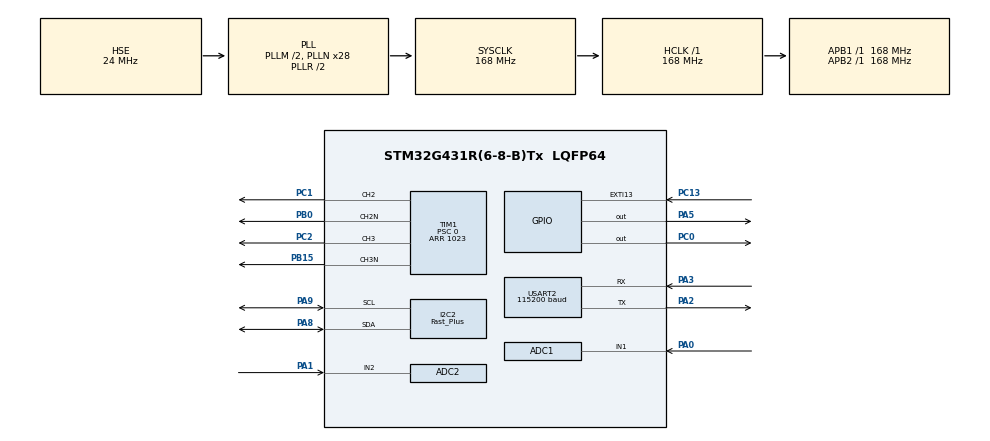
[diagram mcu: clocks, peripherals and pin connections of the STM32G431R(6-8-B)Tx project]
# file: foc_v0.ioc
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ADC1.Channel-0\#ChannelRegularConversion=ADC_CHANNEL_1
ADC1.Channel-IN1=ADC_CHANNEL_1
ADC1.ClockPrescaler=ADC_CLOCK_SYNC_PCLK_DIV4
ADC1.ContinuousConvMode=DISABLE
ADC1.DMAContinuousRequests=ENABLE
ADC1.DataAlign=ADC_DATAALIGN_RIGHT
ADC1.DiscontinuousConvMode=DISABLE
ADC1.EOCSelection=ADC_EOC_SINGLE_CONV
ADC1.EnableAnalogWatchDog1=false
ADC1.EnableAnalogWatchDog2=false
ADC1.EnableAnalogWatchDog3=false
ADC1.EnableInjectedConversion=DISABLE
ADC1.EnableRegularConversion=ENABLE
ADC1.ExternalTrigConv=ADC_EXTERNALTRIG_T1_TRGO
ADC1.ExternalTrigConvEdge=ADC_EXTERNALTRIGCONVEDGE_RISING
ADC1.GainCompensation=0
ADC1.LowPowerAutoWait=DISABLE
ADC1.Mode=ADC_MODE_INDEPENDENT
ADC1.NbrOfConversion=1
ADC1.OffsetNumber-0\#ChannelRegularConversion=ADC_OFFSET_NONE
ADC1.Overrun=ADC_OVR_DATA_PRESERVED
ADC1.OversamplingMode=DISABLE
ADC1.Rank-0\#ChannelRegularConversion=1
ADC1.Resolution=ADC_RESOLUTION_12B
ADC1.SamplingTime-0\#ChannelRegularConversion=ADC_SAMPLETIME_12CYCLES_5
ADC1.ScanConvMode=ADC_SCAN_DISABLE
ADC1.master=1
ADC2.Channel-0\#ChannelRegularConversion=ADC_CHANNEL_2
ADC2.Channel-IN2=ADC_CHANNEL_2
ADC2.ClockPrescaler=ADC_CLOCK_SYNC_PCLK_DIV4
ADC2.ContinuousConvMode=DISABLE
ADC2.DMAContinuousRequests=ENABLE
ADC2.DataAlign=ADC_DATAALIGN_RIGHT
ADC2.DiscontinuousConvMode=DISABLE
ADC2.EOCSelection=ADC_EOC_SINGLE_CONV
ADC2.EnableAnalogWatchDog1=false
ADC2.EnableAnalogWatchDog2=false
ADC2.EnableAnalogWatchDog3=false
ADC2.EnableInjectedConversion=DISABLE
ADC2.EnableRegularConversion=ENABLE
ADC2.ExternalTrigConv=ADC_EXTERNALTRIG_T1_TRGO
ADC2.ExternalTrigConvEdge=ADC_EXTERNALTRIGCONVEDGE_RISING
ADC2.GainCompensation=0
ADC2.LowPowerAutoWait=DISABLE
ADC2.Mode=ADC_MODE_INDEPENDENT
ADC2.NbrOfConversion=1
ADC2.OffsetNumber-0\#ChannelRegularConversion=ADC_OFFSET_NONE
ADC2.Overrun=ADC_OVR_DATA_PRESERVED
ADC2.OversamplingMode=DISABLE
ADC2.Rank-0\#ChannelRegularConversion=1
ADC2.Resolution=ADC_RESOLUTION_12B
ADC2.SamplingTime-0\#ChannelRegularConversion=ADC_SAMPLETIME_12CYCLES_5
ADC2.ScanConvMode=ADC_SCAN_DISABLE
Dma.ADC1.1.Direction=DMA_PERIPH_TO_MEMORY
Dma.ADC1.1.EventEnable=DISABLE
Dma.ADC1.1.Instance=DMA1_Channel2
Dma.ADC1.1.MemDataAlignment=DMA_MDATAALIGN_HALFWORD
Dma.ADC1.1.MemInc=DMA_MINC_ENABLE
Dma.ADC1.1.Mode=DMA_CIRCULAR
Dma.ADC1.1.PeriphDataAlignment=DMA_PDATAALIGN_HALFWORD
Dma.ADC1.1.PeriphInc=DMA_PINC_DISABLE
Dma.ADC1.1.Polarity=HAL_DMAMUX_REQ_GEN_RISING
Dma.ADC1.1.Priority=DMA_PRIORITY_LOW
Dma.ADC1.1.RequestNumber=1
Dma.ADC1.1.SignalID=NONE
Dma.ADC1.1.SyncEnable=DISABLE
Dma.ADC1.1.SyncPolarity=HAL_DMAMUX_SYNC_NO_EVENT
Dma.ADC1.1.SyncRequestNumber=1
Dma.ADC1.1.SyncSignalID=NONE
Dma.ADC2.0.Direction=DMA_PERIPH_TO_MEMORY
Dma.ADC2.0.EventEnable=DISABLE
Dma.ADC2.0.Instance=DMA1_Channel1
Dma.ADC2.0.MemDataAlignment=DMA_MDATAALIGN_HALFWORD
Dma.ADC2.0.MemInc=DMA_MINC_ENABLE
Dma.ADC2.0.Mode=DMA_CIRCULAR
Dma.ADC2.0.PeriphDataAlignment=DMA_PDATAALIGN_HALFWORD
Dma.ADC2.0.PeriphInc=DMA_PINC_DISABLE
Dma.ADC2.0.Polarity=HAL_DMAMUX_REQ_GEN_RISING
Dma.ADC2.0.Priority=DMA_PRIORITY_LOW
Dma.ADC2.0.RequestNumber=1
Dma.ADC2.0.SignalID=NONE
Dma.ADC2.0.SyncEnable=DISABLE
Dma.ADC2.0.SyncPolarity=HAL_DMAMUX_SYNC_NO_EVENT
Dma.ADC2.0.SyncRequestNumber=1
Dma.ADC2.0.SyncSignalID=NONE
Dma.I2C2_RX.2.Direction=DMA_PERIPH_TO_MEMORY
Dma.I2C2_RX.2.EventEnable=DISABLE
Dma.I2C2_RX.2.Instance=DMA1_Channel3
Dma.I2C2_RX.2.MemDataAlignment=DMA_MDATAALIGN_BYTE
Dma.I2C2_RX.2.MemInc=DMA_MINC_ENABLE
Dma.I2C2_RX.2.Mode=DMA_NORMAL
Dma.I2C2_RX.2.PeriphDataAlignment=DMA_PDATAALIGN_BYTE
Dma.I2C2_RX.2.PeriphInc=DMA_PINC_DISABLE
Dma.I2C2_RX.2.Polarity=HAL_DMAMUX_REQ_GEN_RISING
Dma.I2C2_RX.2.Priority=DMA_PRIORITY_LOW
Dma.I2C2_RX.2.RequestNumber=1
Dma.I2C2_RX.2.SignalID=NONE
Dma.I2C2_RX.2.SyncEnable=DISABLE
Dma.I2C2_RX.2.SyncPolarity=HAL_DMAMUX_SYNC_NO_EVENT
Dma.I2C2_RX.2.SyncRequestNumber=1
Dma.I2C2_RX.2.SyncSignalID=NONE
Dma.Request0=ADC2
Dma.Request1=ADC1
Dma.Request2=I2C2_RX
I2C2.AddressingMode=I2C_ADDRESSINGMODE_7BIT
I2C2.Analog_Filter=I2C_ANALOGFILTER_ENABLE
I2C2.CustomTiming=Disabled
I2C2.DualAddressMode=I2C_DUALADDRESS_DISABLE
I2C2.GeneralCallMode=I2C_GENERALCALL_DISABLE
I2C2.I2C_Coeff_DF=0
I2C2.I2C_Fall_Time=100
I2C2.I2C_Rise_Time=100
I2C2.I2C_Speed_Mode=I2C_Fast_Plus
I2C2.NoStretchMode=I2C_NOSTRETCH_DISABLE
I2C2.OwnAddress=0
I2C2.Speed=1000
I2C2.Timing=0x10C31027
Mcu.Family=STM32G4
Mcu.Name=STM32G431R(6-8-B)Tx
Mcu.Package=LQFP64
NVIC.ADC1_2_IRQn=true\:0\:0\:false\:false\:true\:true\:true\:true
NVIC.DMA1_Channel1_IRQn=true\:0\:0\:false\:false\:true\:false\:true\:true
NVIC.DMA1_Channel2_IRQn=true\:0\:0\:false\:false\:true\:false\:true\:true
NVIC.DMA1_Channel3_IRQn=true\:0\:0\:false\:false\:true\:false\:true\:true
NVIC.EXTI15_10_IRQn=true\:0\:0\:false\:false\:true\:true\:true\:true
NVIC.I2C2_EV_IRQn=true\:0\:0\:false\:false\:true\:true\:true\:true
NVIC.PriorityGroup=NVIC_PRIORITYGROUP_4
PA0.Mode=IN1-Single-Ended
PA0.Signal=ADC1_IN1
PA1.Mode=IN2-Single-Ended
PA1.Signal=ADC2_IN2
PA13.GPIO_Label=T_SWDIO
PA13.Mode=Serial_Wire
PA13.Signal=SYS_JTMS-SWDIO
PA14.GPIO_Label=T_SWCLK
PA14.Mode=Serial_Wire
PA14.Signal=SYS_JTCK-SWCLK
PA2.Mode=Asynchronous
PA2.Signal=USART2_TX
PA3.Mode=Asynchronous
PA3.Signal=USART2_RX
PA5.Signal=GPIO_Output
PA8.Mode=I2C
PA8.Signal=I2C2_SDA
PA9.Mode=I2C
PA9.Signal=I2C2_SCL
PB0.Mode=PWM Generation2 CH2 CH2N
PB0.Signal=TIM1_CH2N
PB15.Mode=PWM Generation3 CH3 CH3N
PB15.Signal=TIM1_CH3N
PC0.Signal=GPIO_Output
PC1.Signal=S_TIM1_CH2
PC13.Signal=GPXTI13
PC2.Signal=S_TIM1_CH3
PF0-OSC_IN.GPIO_Label=RCC_OSC_IN
PF0-OSC_IN.Mode=HSE-External-Oscillator
PF0-OSC_IN.Signal=RCC_OSC_IN
PF1-OSC_OUT.GPIO_Label=RCC_OSC_OUT
PF1-OSC_OUT.Mode=HSE-External-Oscillator
PF1-OSC_OUT.Signal=RCC_OSC_OUT
ProjectManager.HeapSize=0x200
ProjectManager.StackSize=0x400
ProjectManager.TargetToolchain=CMake
RCC.ADC12Freq_Value=168000000
RCC.AHBFreq_Value=168000000
RCC.APB1Freq_Value=168000000
RCC.APB1TimFreq_Value=168000000
RCC.APB2Freq_Value=168000000
RCC.APB2TimFreq_Value=168000000
RCC.CortexFreq_Value=168000000
RCC.EXTERNAL_CLOCK_VALUE=12288000
RCC.FLatency=FLASH_LATENCY_4
RCC.HCLKFreq_Value=168000000
RCC.HSE_VALUE=24000000
RCC.HSI48_VALUE=48000000
RCC.HSI_VALUE=16000000
RCC.LSE_VALUE=32768
RCC.PLLM=RCC_PLLM_DIV2
RCC.PLLN=28
RCC.PLLSourceVirtual=RCC_PLLSOURCE_HSE
RCC.PWR_Regulator_Voltage_Scale=PWR_REGULATOR_VOLTAGE_SCALE1_BOOST
RCC.SYSCLKFreq_VALUE=168000000
RCC.SYSCLKSource=RCC_SYSCLKSOURCE_PLLCLK
RCC.USBFreq_Value=168000000
RCC.VCOOutputFreq_Value=336000000
SH.S_TIM1_CH2.0=TIM1_CH2,PWM Generation2 CH2 CH2N
SH.S_TIM1_CH3.0=TIM1_CH3,PWM Generation3 CH3 CH3N
TIM1.AsymmetricalDeadTime=DISABLE
TIM1.AutoReloadPreload=TIM_AUTORELOAD_PRELOAD_ENABLE
TIM1.AutomaticOutput=TIM_AUTOMATICOUTPUT_DISABLE
TIM1.Break2Filter=0
TIM1.Break2Polarity=TIM_BREAK2POLARITY_HIGH
TIM1.Break2State=TIM_BREAK2_DISABLE
TIM1.BreakFilter=0
TIM1.BreakPolarity=TIM_BREAKPOLARITY_HIGH
TIM1.BreakState=TIM_BREAK_DISABLE
TIM1.Channel-PWM\ Generation2\ CH2\ CH2N=TIM_CHANNEL_2
TIM1.Channel-PWM\ Generation3\ CH3\ CH3N=TIM_CHANNEL_3
TIM1.ClearInputSource=TIM_CLEARINPUTSOURCE_NONE
TIM1.ClockDivision=TIM_CLOCKDIVISION_DIV1
TIM1.CounterMode=TIM_COUNTERMODE_CENTERALIGNED1
TIM1.DeadTime=0
TIM1.DeadTimePreload=DISABLE
TIM1.Dithering=Disable
TIM1.LockLevel=TIM_LOCKLEVEL_OFF
TIM1.OC2Preload_PWM=ENABLE
TIM1.OC3Preload_PWM=ENABLE
TIM1.OCFastMode_PWM-PWM\ Generation2\ CH2\ CH2N=TIM_OCFAST_DISABLE
TIM1.OCFastMode_PWM-PWM\ Generation3\ CH3\ CH3N=TIM_OCFAST_DISABLE
TIM1.OCIdleState_2=TIM_OCIDLESTATE_RESET
TIM1.OCIdleState_3=TIM_OCIDLESTATE_RESET
TIM1.OCMode_PWM-PWM\ Generation2\ CH2\ CH2N=TIM_OCMODE_PWM1
TIM1.OCMode_PWM-PWM\ Generation3\ CH3\ CH3N=TIM_OCMODE_PWM1
TIM1.OCNIdleState_2=TIM_OCNIDLESTATE_RESET
TIM1.OCNIdleState_3=TIM_OCNIDLESTATE_RESET
TIM1.OCNPolarity_2=TIM_OCNPOLARITY_HIGH
TIM1.OCNPolarity_3=TIM_OCNPOLARITY_HIGH
TIM1.OCPolarity_2=TIM_OCPOLARITY_HIGH
TIM1.OCPolarity_3=TIM_OCPOLARITY_HIGH
TIM1.OffStateIDLEMode=TIM_OSSI_DISABLE
TIM1.OffStateRunMode=TIM_OSSR_DISABLE
TIM1.PeriodNoDither=1023
TIM1.Prescaler=0
TIM1.PulseNoDither_2=0
TIM1.PulseNoDither_3=0
TIM1.RepetitionCounter=7
TIM1.SourceBRK2COMP1=TIM_BREAKINPUTSOURCE_DISABLE
TIM1.SourceBRK2COMP2=TIM_BREAKINPUTSOURCE_DISABLE
TIM1.SourceBRK2COMP3=TIM_BREAKINPUTSOURCE_DISABLE
TIM1.SourceBRK2COMP4=TIM_BREAKINPUTSOURCE_DISABLE
TIM1.SourceBRK2DigInput=TIM_BREAKINPUTSOURCE_DISABLE
TIM1.SourceBRKCOMP1=TIM_BREAKINPUTSOURCE_DISABLE
TIM1.SourceBRKCOMP2=TIM_BREAKINPUTSOURCE_DISABLE
TIM1.SourceBRKCOMP3=TIM_BREAKINPUTSOURCE_DISABLE
TIM1.SourceBRKCOMP4=TIM_BREAKINPUTSOURCE_DISABLE
TIM1.SourceBRKDigInput=TIM_BREAKINPUTSOURCE_DISABLE
TIM1.TIM_MasterOutputTrigger=TIM_TRGO_UPDATE
TIM1.TIM_MasterOutputTrigger2=TIM_TRGO2_RESET
TIM1.TIM_MasterSlaveMode=TIM_MASTERSLAVEMODE_DISABLE
USART2.AutoBaudRateEnableParam=UART_ADVFEATURE_AUTOBAUDRATE_DISABLE
USART2.BaudRate=115200
USART2.ClockPrescaler=PRESCALER_DIV1
USART2.DMADisableonRxErrorParam=ADVFEATURE_DMA_ENABLEONRXERROR
USART2.DataInvertParam=ADVFEATURE_DATAINV_DISABLE
USART2.FIFOMode=FIFOMODE_DISABLE
USART2.MSBFirstParam=ADVFEATURE_MSBFIRST_DISABLE
USART2.Mode=MODE_TX_RX
USART2.OneBitSampling=UART_ONE_BIT_SAMPLE_DISABLE
USART2.OverSampling=UART_OVERSAMPLING_16
USART2.OverrunDisableParam=ADVFEATURE_OVERRUN_ENABLE
USART2.Parity=PARITY_NONE
USART2.RXFIFOThreshold=RXFIFO_THRESHOLD_1EIGHTHFULL
USART2.RxPinLevelInvertParam=ADVFEATURE_RXINV_DISABLE
USART2.StopBits=STOPBITS_1
USART2.SwapParam=ADVFEATURE_SWAP_DISABLE
USART2.TXFIFOThreshold=TXFIFO_THRESHOLD_1EIGHTHFULL
USART2.TxPinLevelInvertParam=ADVFEATURE_TXINV_DISABLE
USART2.VirtualMode-Asynchronous=VM_ASYNC
USART2.WordLength=WORDLENGTH_8B
VP_CORDIC_VS_CORDIC.Mode=CORDIC_Activate
VP_SYS_VS_DBSignals.Mode=DisableDeadBatterySignals
VP_TIM1_VS_ClockSourceINT.Mode=Internal
board=NUCLEO-G431RB

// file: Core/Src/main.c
/* USER CODE BEGIN Header */
/**
  ******************************************************************************
  * @file           : main.c
  * @brief          : Main program body
  ******************************************************************************
  * @attention
  *
  * Copyright (c) 2026 STMicroelectronics.
  * All rights reserved.
  *
  * This software is licensed under terms that can be found in the LICENSE file
  * in the root directory of this software component.
  * If no LICENSE file comes with this software, it is provided AS-IS.
  *
  ******************************************************************************
  */
/* USER CODE END Header */
#include "main.h"

/* USER CODE BEGIN Includes */
#include <stdbool.h>
#include <stdint.h>
#include <stdio.h>
#include "stm32g4xx_hal.h"
#include "stm32g4xx_hal_gpio.h"
#include "stm32g4xx_hal_i2c.h"
#include "stm32g4xx_hal_tim.h"

#include "stm32-cordic.h"
#include "as5600.h"
#include "stm32g4xx_hal_uart.h"
/* USER CODE END Includes */

/* USER CODE BEGIN PD */
#define LOG_SIZE 1024
#define OUTPUT_BUFLEN 64
#define ANGLE_WRAP_THRESHOLD 300
/* USER CODE END PD */

ADC_HandleTypeDef hadc1;
ADC_HandleTypeDef hadc2;
DMA_HandleTypeDef hdma_adc1;
DMA_HandleTypeDef hdma_adc2;

CORDIC_HandleTypeDef hcordic;

I2C_HandleTypeDef hi2c2;
DMA_HandleTypeDef hdma_i2c2_rx;

TIM_HandleTypeDef htim1;

UART_HandleTypeDef huart2;

/* USER CODE BEGIN PV */
volatile bool active = false;
volatile bool state_change = false;
volatile bool next_step = false;
volatile bool i2c_dma_ready = false;

uint16_t angle_log[LOG_SIZE];
uint16_t duty_log_x[LOG_SIZE];
uint16_t duty_log_y[LOG_SIZE];
int16_t adc_log_x[LOG_SIZE];
int16_t adc_log_y[LOG_SIZE];
int32_t adc_log_d[LOG_SIZE];
int32_t adc_log_q[LOG_SIZE];

uint8_t output_buffer[OUTPUT_BUFLEN];
int output_length;

AS5600_TypeDef *myAS5600;
/* USER CODE END PV */

void SystemClock_Config(void);
static void MX_GPIO_Init(void);
static void MX_DMA_Init(void);
static void MX_USART2_UART_Init(void);
static void MX_CORDIC_Init(void);
static void MX_TIM1_Init(void);
static void MX_ADC1_Init(void);
static void MX_ADC2_Init(void);
static void MX_I2C2_Init(void);
/* USER CODE BEGIN PFP */
static inline int32_t update_cumulative_angle(int32_t cumulative_angle_prev, uint16_t raw_angle_prev, uint16_t raw_angle);
/* USER CODE END PFP */

int main(void)
{

  /* MCU Configuration--------------------------------------------------------*/

  /* Reset of all peripherals, Initializes the Flash interface and the Systick. */
  HAL_Init();

  /* Configure the system clock */
  SystemClock_Config();

  /* Initialize all configured peripherals */
  MX_GPIO_Init();
  MX_DMA_Init();
  MX_USART2_UART_Init();
  MX_CORDIC_Init();
  MX_TIM1_Init();
  MX_ADC1_Init();
  MX_ADC2_Init();
  MX_I2C2_Init();
  /* USER CODE BEGIN 2 */
  uint32_t adc_dma_dest[2];
  int32_t cordic_results[2];

  int32_t theta_q31 = 0x80000000;   // corresponding to -pi
  int32_t sine_q31 = 0, cosine_q31 = 0;
  uint16_t pwm_level_x = 0, pwm_level_y = 0;
  int16_t adc_x, adc_y;

  int cycle_count = 0;    // 0 -> initiate angle reading, 2 -> Kalman update
  int logging_index = 0;
  uint16_t angle_raw, angle_raw_prev, angle_home;
  int32_t cumulative_angle, angle_dq;
  int32_t sine_dq, cosine_dq;
  int32_t adc_d, adc_q;

  myAS5600 = AS5600_New();
  myAS5600->i2cAddr = (0x36 << 1);  // 7-bit address shifted for HAL
  myAS5600->i2cHandle = &hi2c2;
  myAS5600->SlowFilter = AS5600_SLOW_FILTER_2X;
  myAS5600->FastFilterThreshold = AS5600_FAST_FILTER_6LSB;

  AS5600_Init(myAS5600);

  /* Measure ADC DC offset after calibration by averaging a few samples */
  ADC_ChannelConfTypeDef adc_offset_config = {0};

  hadc1.Init.ExternalTrigConv = ADC_SOFTWARE_START;
  hadc1.Init.ExternalTrigConvEdge = ADC_EXTERNALTRIGCONVEDGE_NONE;
  if (HAL_ADC_Init(&hadc1) != HAL_OK) {
    Error_Handler();
  }
  adc_offset_config.Channel = ADC_CHANNEL_1;
  adc_offset_config.Rank = ADC_REGULAR_RANK_1;
  adc_offset_config.SamplingTime = ADC_SAMPLETIME_12CYCLES_5;
  adc_offset_config.SingleDiff = ADC_SINGLE_ENDED;
  adc_offset_config.OffsetNumber = ADC_OFFSET_NONE;
  adc_offset_config.Offset = 0;
  if (HAL_ADC_ConfigChannel(&hadc1, &adc_offset_config) != HAL_OK) {
    Error_Handler();
  }

  hadc2.Init.ExternalTrigConv = ADC_SOFTWARE_START;
  hadc2.Init.ExternalTrigConvEdge = ADC_EXTERNALTRIGCONVEDGE_NONE;
  if (HAL_ADC_Init(&hadc2) != HAL_OK) {
    Error_Handler();
  }
  adc_offset_config.Channel = ADC_CHANNEL_2;
  if (HAL_ADC_ConfigChannel(&hadc2, &adc_offset_config) != HAL_OK) {
    Error_Handler();
  }

  HAL_ADCEx_Calibration_Start(&hadc1, ADC_SINGLE_ENDED);
  HAL_ADCEx_Calibration_Start(&hadc2, ADC_SINGLE_ENDED);

  const uint8_t adc_offset_samples = 64;
  uint32_t adc1_offset_sum = 0;
  uint32_t adc2_offset_sum = 0;
  uint16_t adc1_offset = 0;
  uint16_t adc2_offset = 0;

  for (uint8_t i = 0; i < adc_offset_samples; i++) {
    if (HAL_ADC_Start(&hadc1) != HAL_OK) {
      Error_Handler();
    }
    if (HAL_ADC_PollForConversion(&hadc1, 10) != HAL_OK) {
      Error_Handler();
    }
    adc1_offset_sum += HAL_ADC_GetValue(&hadc1);
    HAL_ADC_Stop(&hadc1);

    if (HAL_ADC_Start(&hadc2) != HAL_OK) {
      Error_Handler();
    }
    if (HAL_ADC_PollForConversion(&hadc2, 10) != HAL_OK) {
      Error_Handler();
    }
    adc2_offset_sum += HAL_ADC_GetValue(&hadc2);
    HAL_ADC_Stop(&hadc2);

    HAL_Delay(1);
  }

  adc1_offset = (uint16_t)(adc1_offset_sum / adc_offset_samples);
  adc2_offset = (uint16_t)(adc2_offset_sum / adc_offset_samples);
  // (void)adc1_offset;
  // (void)adc2_offset;

  MX_ADC1_Init();
  MX_ADC2_Init();
  /* USER CODE END 2 */

  /* Infinite loop */
  /* USER CODE BEGIN WHILE */
  while (1)
  {
    if(active) {
      if(state_change) {  // first cycle after activation
        state_change = false;
        HAL_GPIO_WritePin(GPIOA, GPIO_PIN_5, 1);   // light up LED

        // Start ADC and DMA
        HAL_ADC_Start_DMA(&hadc1, &adc_dma_dest[0], 1);
        __HAL_ADC_ENABLE_IT(&hadc1, ADC_IT_EOC);
        HAL_ADC_Start_DMA(&hadc2, &adc_dma_dest[1], 1);
        // __HAL_ADC_ENABLE_IT(&hadc2, ADC_IT_EOC);

        // Start TIMER
        __HAL_TIM_CLEAR_FLAG(&htim1, TIM_FLAG_UPDATE);
        HAL_TIM_PWM_Start(&htim1, TIM_CHANNEL_2);
        HAL_TIMEx_PWMN_Start(&htim1, TIM_CHANNEL_2);
        HAL_TIM_PWM_Start(&htim1, TIM_CHANNEL_3);
        HAL_TIMEx_PWMN_Start(&htim1, TIM_CHANNEL_3);

        // set initial PWM duty cycle for homing
        cordic_q31_cos_sin(theta_q31, cordic_results);
        cosine_q31 = cordic_results[0];
        sine_q31 = cordic_results[1];
        pwm_level_x = (cosine_q31 >> 23) + 512;
        pwm_level_y = (sine_q31 >> 23) + 512;
        __HAL_TIM_SET_COMPARE(&htim1, TIM_CHANNEL_2, pwm_level_x);
        __HAL_TIM_SET_COMPARE(&htim1, TIM_CHANNEL_3, pwm_level_y);
        HAL_GPIO_TogglePin(GPIOC, GPIO_PIN_0);

        // delay for rotor to rotate to home position
        HAL_Delay(50);

        // read home position
        AS5600_GetAngle(myAS5600, &angle_home);
        cumulative_angle = -((int32_t)angle_home);   // set home position to 0
      }

      if(next_step) {   // ADC sampling just completed
        next_step = false;    // clear flag

        // update pwm duty cycle
        cordic_q31_cos_sin(theta_q31, cordic_results);
        cosine_q31 = cordic_results[0];
        sine_q31 = cordic_results[1];
        pwm_level_x = (cosine_q31 >> 23) + 512;
        pwm_level_y = (sine_q31 >> 23) + 512;
        __HAL_TIM_SET_COMPARE(&htim1, TIM_CHANNEL_2, pwm_level_x);
        __HAL_TIM_SET_COMPARE(&htim1, TIM_CHANNEL_3, pwm_level_y);
        HAL_GPIO_TogglePin(GPIOC, GPIO_PIN_0);

        theta_q31 += 0x2000000;    // let it overflow to loop back and keep spinning

        // perform tasks based on cycle_count
        switch(cycle_count) {
          case 0:
            AS5600_GetAngleDMA(myAS5600);
            cycle_count++;
            break;
          case 1:
            cycle_count++;
            break;
          case 2:
            if(i2c_dma_ready) {   // update angle if AS5600 is ready
              angle_raw_prev = angle_raw;
              angle_raw = (as5600_dma_dest[0] << 8) | as5600_dma_dest[1];
              cumulative_angle = update_cumulative_angle(cumulative_angle, angle_raw_prev, angle_raw);
            }

            adc_x = (adc_dma_dest[0] & 0x0000ffff) - adc1_offset;
            adc_y = (adc_dma_dest[1] & 0x0000ffff) - adc2_offset;

            // compute angle for DQ measurement
            // 12-bit measured angle -> 32-bit cordic angle -> 32-bit cordic sin/cos -> 12-bit sin/cos
            angle_dq = (cumulative_angle * 50) << 20;
            cordic_q31_cos_sin(angle_dq, cordic_results);
            cosine_dq = cordic_results[0] >> 20;
            sine_dq = cordic_results[1] >> 20;
            adc_d = -sine_dq * adc_x + cosine_dq * adc_y;
            adc_q = cosine_dq * adc_x + sine_dq * adc_y;

            // log data
            angle_log[logging_index] = cumulative_angle;
            duty_log_x[logging_index] = pwm_level_x;
            duty_log_y[logging_index] = pwm_level_y;
            adc_log_x[logging_index] = adc_x;
            adc_log_y[logging_index] = adc_y;
            adc_log_d[logging_index] = adc_d;
            adc_log_q[logging_index] = adc_q;

            if(logging_index < LOG_SIZE - 1) {
              logging_index++;
            } else {
              logging_index = 0;
            }

            cycle_count = 0;
            break;
        }
      }

    } else {
      if(state_change) {   // first cycle after stopping
        state_change = false;
        HAL_GPIO_WritePin(GPIOA, GPIO_PIN_5, 0);   // turn off LED

        // turn off motor current
        HAL_ADC_Stop_DMA(&hadc1);
        __HAL_ADC_DISABLE_IT(&hadc1, ADC_IT_EOC);
        HAL_ADC_Stop_DMA(&hadc2);
        // __HAL_ADC_DISABLE_IT(&hadc2, ADC_IT_EOC);
        HAL_TIM_PWM_Stop(&htim1, TIM_CHANNEL_2);
        HAL_TIMEx_PWMN_Stop(&htim1, TIM_CHANNEL_2);
        HAL_TIM_PWM_Stop(&htim1, TIM_CHANNEL_3);
        HAL_TIMEx_PWMN_Stop(&htim1, TIM_CHANNEL_3);

        // print logged data to serial port
        for(int i = 0; i < LOG_SIZE; i++) {
          output_length = snprintf((char *)output_buffer, OUTPUT_BUFLEN, "%d %d %d %d %d %ld %ld\r\n",
            duty_log_x[logging_index], duty_log_y[logging_index], angle_log[logging_index],
            adc_log_x[logging_index], adc_log_y[logging_index], adc_log_d[logging_index], adc_log_q[logging_index]);
          // output_length = snprintf((char *)output_buffer, OUTPUT_BUFLEN, "%d %d %d %d %d\r\n",
          //   duty_log_x[logging_index], duty_log_y[logging_index], angle_log[logging_index],
          //   adc_log_x[logging_index], adc_log_y[logging_index]);

          if(logging_index < LOG_SIZE - 1) {
            logging_index++;
          } else {
            logging_index = 0;
          }

          HAL_UART_Transmit(&huart2, output_buffer, output_length, 10);
          HAL_Delay(1);
        }
      }

      // reset variables
      theta_q31 = 0x80000000;   // corresponding to -pi
      sine_q31 = 0;
      cosine_q31 = 0;
      pwm_level_x = 0;
      pwm_level_y = 0;

      cycle_count = 0;
      logging_index = 0;
    }
    /* USER CODE END WHILE */

  }
}

void SystemClock_Config(void)
{
  RCC_OscInitTypeDef RCC_OscInitStruct = {0};
  RCC_ClkInitTypeDef RCC_ClkInitStruct = {0};

  /** Configure the main internal regulator output voltage
  */
  HAL_PWREx_ControlVoltageScaling(PWR_REGULATOR_VOLTAGE_SCALE1_BOOST);

  /** Initializes the RCC Oscillators according to the specified parameters
  * in the RCC_OscInitTypeDef structure.
  */
  RCC_OscInitStruct.OscillatorType = RCC_OSCILLATORTYPE_HSE;
  RCC_OscInitStruct.HSEState = RCC_HSE_ON;
  RCC_OscInitStruct.PLL.PLLState = RCC_PLL_ON;
  RCC_OscInitStruct.PLL.PLLSource = RCC_PLLSOURCE_HSE;
  RCC_OscInitStruct.PLL.PLLM = RCC_PLLM_DIV2;
  RCC_OscInitStruct.PLL.PLLN = 28;
  RCC_OscInitStruct.PLL.PLLP = RCC_PLLP_DIV2;
  RCC_OscInitStruct.PLL.PLLQ = RCC_PLLQ_DIV2;
  RCC_OscInitStruct.PLL.PLLR = RCC_PLLR_DIV2;
  if (HAL_RCC_OscConfig(&RCC_OscInitStruct) != HAL_OK)
  {
    Error_Handler();
  }

  /** Initializes the CPU, AHB and APB buses clocks
  */
  RCC_ClkInitStruct.ClockType = RCC_CLOCKTYPE_HCLK|RCC_CLOCKTYPE_SYSCLK
                              |RCC_CLOCKTYPE_PCLK1|RCC_CLOCKTYPE_PCLK2;
  RCC_ClkInitStruct.SYSCLKSource = RCC_SYSCLKSOURCE_PLLCLK;
  RCC_ClkInitStruct.AHBCLKDivider = RCC_SYSCLK_DIV1;
  RCC_ClkInitStruct.APB1CLKDivider = RCC_HCLK_DIV1;
  RCC_ClkInitStruct.APB2CLKDivider = RCC_HCLK_DIV1;

  if (HAL_RCC_ClockConfig(&RCC_ClkInitStruct, FLASH_LATENCY_4) != HAL_OK)
  {
    Error_Handler();
  }
}

static void MX_ADC1_Init(void)
{

  ADC_MultiModeTypeDef multimode = {0};
  ADC_ChannelConfTypeDef sConfig = {0};

  /** Common config
  */
  hadc1.Instance = ADC1;
  hadc1.Init.ClockPrescaler = ADC_CLOCK_SYNC_PCLK_DIV4;
  hadc1.Init.Resolution = ADC_RESOLUTION_12B;
  hadc1.Init.DataAlign = ADC_DATAALIGN_RIGHT;
  hadc1.Init.GainCompensation = 0;
  hadc1.Init.ScanConvMode = ADC_SCAN_DISABLE;
  hadc1.Init.EOCSelection = ADC_EOC_SINGLE_CONV;
  hadc1.Init.LowPowerAutoWait = DISABLE;
  hadc1.Init.ContinuousConvMode = DISABLE;
  hadc1.Init.NbrOfConversion = 1;
  hadc1.Init.DiscontinuousConvMode = DISABLE;
  hadc1.Init.ExternalTrigConv = ADC_EXTERNALTRIG_T1_TRGO;
  hadc1.Init.ExternalTrigConvEdge = ADC_EXTERNALTRIGCONVEDGE_RISING;
  hadc1.Init.DMAContinuousRequests = ENABLE;
  hadc1.Init.Overrun = ADC_OVR_DATA_PRESERVED;
  hadc1.Init.OversamplingMode = DISABLE;
  if (HAL_ADC_Init(&hadc1) != HAL_OK)
  {
    Error_Handler();
  }

  /** Configure the ADC multi-mode
  */
  multimode.Mode = ADC_MODE_INDEPENDENT;
  if (HAL_ADCEx_MultiModeConfigChannel(&hadc1, &multimode) != HAL_OK)
  {
    Error_Handler();
  }

  /** Configure Regular Channel
  */
  sConfig.Channel = ADC_CHANNEL_1;
  sConfig.Rank = ADC_REGULAR_RANK_1;
  sConfig.SamplingTime = ADC_SAMPLETIME_12CYCLES_5;
  sConfig.SingleDiff = ADC_SINGLE_ENDED;
  sConfig.OffsetNumber = ADC_OFFSET_NONE;
  sConfig.Offset = 0;
  if (HAL_ADC_ConfigChannel(&hadc1, &sConfig) != HAL_OK)
  {
    Error_Handler();
  }

}

static void MX_ADC2_Init(void)
{

  ADC_ChannelConfTypeDef sConfig = {0};

  /** Common config
  */
  hadc2.Instance = ADC2;
  hadc2.Init.ClockPrescaler = ADC_CLOCK_SYNC_PCLK_DIV4;
  hadc2.Init.Resolution = ADC_RESOLUTION_12B;
  hadc2.Init.DataAlign = ADC_DATAALIGN_RIGHT;
  hadc2.Init.GainCompensation = 0;
  hadc2.Init.ScanConvMode = ADC_SCAN_DISABLE;
  hadc2.Init.EOCSelection = ADC_EOC_SINGLE_CONV;
  hadc2.Init.LowPowerAutoWait = DISABLE;
  hadc2.Init.ContinuousConvMode = DISABLE;
  hadc2.Init.NbrOfConversion = 1;
  hadc2.Init.DiscontinuousConvMode = DISABLE;
  hadc2.Init.ExternalTrigConv = ADC_EXTERNALTRIG_T1_TRGO;
  hadc2.Init.ExternalTrigConvEdge = ADC_EXTERNALTRIGCONVEDGE_RISING;
  hadc2.Init.DMAContinuousRequests = ENABLE;
  hadc2.Init.Overrun = ADC_OVR_DATA_PRESERVED;
  hadc2.Init.OversamplingMode = DISABLE;
  if (HAL_ADC_Init(&hadc2) != HAL_OK)
  {
    Error_Handler();
  }

  /** Configure Regular Channel
  */
  sConfig.Channel = ADC_CHANNEL_2;
  sConfig.Rank = ADC_REGULAR_RANK_1;
  sConfig.SamplingTime = ADC_SAMPLETIME_12CYCLES_5;
  sConfig.SingleDiff = ADC_SINGLE_ENDED;
  sConfig.OffsetNumber = ADC_OFFSET_NONE;
  sConfig.Offset = 0;
  if (HAL_ADC_ConfigChannel(&hadc2, &sConfig) != HAL_OK)
  {
    Error_Handler();
  }

}

static void MX_CORDIC_Init(void)
{

  hcordic.Instance = CORDIC;
  if (HAL_CORDIC_Init(&hcordic) != HAL_OK)
  {
    Error_Handler();
  }

}

static void MX_I2C2_Init(void)
{

  hi2c2.Instance = I2C2;
  hi2c2.Init.Timing = 0x10C31027;
  hi2c2.Init.OwnAddress1 = 0;
  hi2c2.Init.AddressingMode = I2C_ADDRESSINGMODE_7BIT;
  hi2c2.Init.DualAddressMode = I2C_DUALADDRESS_DISABLE;
  hi2c2.Init.OwnAddress2 = 0;
  hi2c2.Init.OwnAddress2Masks = I2C_OA2_NOMASK;
  hi2c2.Init.GeneralCallMode = I2C_GENERALCALL_DISABLE;
  hi2c2.Init.NoStretchMode = I2C_NOSTRETCH_DISABLE;
  if (HAL_I2C_Init(&hi2c2) != HAL_OK)
  {
    Error_Handler();
  }

  /** Configure Analogue filter
  */
  if (HAL_I2CEx_ConfigAnalogFilter(&hi2c2, I2C_ANALOGFILTER_ENABLE) != HAL_OK)
  {
    Error_Handler();
  }

  /** Configure Digital filter
  */
  if (HAL_I2CEx_ConfigDigitalFilter(&hi2c2, 0) != HAL_OK)
  {
    Error_Handler();
  }

  /** I2C Fast mode Plus enable
  */
  HAL_I2CEx_EnableFastModePlus(I2C_FASTMODEPLUS_I2C2);

}

static void MX_TIM1_Init(void)
{

  TIM_ClockConfigTypeDef sClockSourceConfig = {0};
  TIM_MasterConfigTypeDef sMasterConfig = {0};
  TIM_OC_InitTypeDef sConfigOC = {0};
  TIM_BreakDeadTimeConfigTypeDef sBreakDeadTimeConfig = {0};

  htim1.Instance = TIM1;
  htim1.Init.Prescaler = 0;
  htim1.Init.CounterMode = TIM_COUNTERMODE_CENTERALIGNED1;
  htim1.Init.Period = 1023;
  htim1.Init.ClockDivision = TIM_CLOCKDIVISION_DIV1;
  htim1.Init.RepetitionCounter = 7;
  htim1.Init.AutoReloadPreload = TIM_AUTORELOAD_PRELOAD_ENABLE;
  if (HAL_TIM_Base_Init(&htim1) != HAL_OK)
  {
    Error_Handler();
  }
  sClockSourceConfig.ClockSource = TIM_CLOCKSOURCE_INTERNAL;
  if (HAL_TIM_ConfigClockSource(&htim1, &sClockSourceConfig) != HAL_OK)
  {
    Error_Handler();
  }
  if (HAL_TIM_PWM_Init(&htim1) != HAL_OK)
  {
    Error_Handler();
  }
  sMasterConfig.MasterOutputTrigger = TIM_TRGO_UPDATE;
  sMasterConfig.MasterOutputTrigger2 = TIM_TRGO2_RESET;
  sMasterConfig.MasterSlaveMode = TIM_MASTERSLAVEMODE_DISABLE;
  if (HAL_TIMEx_MasterConfigSynchronization(&htim1, &sMasterConfig) != HAL_OK)
  {
    Error_Handler();
  }
  sConfigOC.OCMode = TIM_OCMODE_PWM1;
  sConfigOC.Pulse = 0;
  sConfigOC.OCPolarity = TIM_OCPOLARITY_HIGH;
  sConfigOC.OCNPolarity = TIM_OCNPOLARITY_HIGH;
  sConfigOC.OCFastMode = TIM_OCFAST_DISABLE;
  sConfigOC.OCIdleState = TIM_OCIDLESTATE_RESET;
  sConfigOC.OCNIdleState = TIM_OCNIDLESTATE_RESET;
  if (HAL_TIM_PWM_ConfigChannel(&htim1, &sConfigOC, TIM_CHANNEL_2) != HAL_OK)
  {
    Error_Handler();
  }
  if (HAL_TIM_PWM_ConfigChannel(&htim1, &sConfigOC, TIM_CHANNEL_3) != HAL_OK)
  {
    Error_Handler();
  }
  sBreakDeadTimeConfig.OffStateRunMode = TIM_OSSR_DISABLE;
  sBreakDeadTimeConfig.OffStateIDLEMode = TIM_OSSI_DISABLE;
  sBreakDeadTimeConfig.LockLevel = TIM_LOCKLEVEL_OFF;
  sBreakDeadTimeConfig.DeadTime = 0;
  sBreakDeadTimeConfig.BreakState = TIM_BREAK_DISABLE;
  sBreakDeadTimeConfig.BreakPolarity = TIM_BREAKPOLARITY_HIGH;
  sBreakDeadTimeConfig.BreakFilter = 0;
  sBreakDeadTimeConfig.BreakAFMode = TIM_BREAK_AFMODE_INPUT;
  sBreakDeadTimeConfig.Break2State = TIM_BREAK2_DISABLE;
  sBreakDeadTimeConfig.Break2Polarity = TIM_BREAK2POLARITY_HIGH;
  sBreakDeadTimeConfig.Break2Filter = 0;
  sBreakDeadTimeConfig.Break2AFMode = TIM_BREAK_AFMODE_INPUT;
  sBreakDeadTimeConfig.AutomaticOutput = TIM_AUTOMATICOUTPUT_DISABLE;
  if (HAL_TIMEx_ConfigBreakDeadTime(&htim1, &sBreakDeadTimeConfig) != HAL_OK)
  {
    Error_Handler();
  }
  HAL_TIM_MspPostInit(&htim1);

}

static void MX_USART2_UART_Init(void)
{

  huart2.Instance = USART2;
  huart2.Init.BaudRate = 115200;
  huart2.Init.WordLength = UART_WORDLENGTH_8B;
  huart2.Init.StopBits = UART_STOPBITS_1;
  huart2.Init.Parity = UART_PARITY_NONE;
  huart2.Init.Mode = UART_MODE_TX_RX;
  huart2.Init.HwFlowCtl = UART_HWCONTROL_NONE;
  huart2.Init.OverSampling = UART_OVERSAMPLING_16;
  huart2.Init.OneBitSampling = UART_ONE_BIT_SAMPLE_DISABLE;
  huart2.Init.ClockPrescaler = UART_PRESCALER_DIV1;
  huart2.AdvancedInit.AdvFeatureInit = UART_ADVFEATURE_NO_INIT;
  if (HAL_UART_Init(&huart2) != HAL_OK)
  {
    Error_Handler();
  }
  if (HAL_UARTEx_SetTxFifoThreshold(&huart2, UART_TXFIFO_THRESHOLD_1_8) != HAL_OK)
  {
    Error_Handler();
  }
  if (HAL_UARTEx_SetRxFifoThreshold(&huart2, UART_RXFIFO_THRESHOLD_1_8) != HAL_OK)
  {
    Error_Handler();
  }
  if (HAL_UARTEx_DisableFifoMode(&huart2) != HAL_OK)
  {
    Error_Handler();
  }

}

static void MX_DMA_Init(void)
{

  /* DMA controller clock enable */
  __HAL_RCC_DMAMUX1_CLK_ENABLE();
  __HAL_RCC_DMA1_CLK_ENABLE();

  /* DMA interrupt init */
  /* DMA1_Channel1_IRQn interrupt configuration */
  HAL_NVIC_SetPriority(DMA1_Channel1_IRQn, 0, 0);
  HAL_NVIC_EnableIRQ(DMA1_Channel1_IRQn);
  /* DMA1_Channel2_IRQn interrupt configuration */
  HAL_NVIC_SetPriority(DMA1_Channel2_IRQn, 0, 0);
  HAL_NVIC_EnableIRQ(DMA1_Channel2_IRQn);
  /* DMA1_Channel3_IRQn interrupt configuration */
  HAL_NVIC_SetPriority(DMA1_Channel3_IRQn, 0, 0);
  HAL_NVIC_EnableIRQ(DMA1_Channel3_IRQn);

}

static void MX_GPIO_Init(void)
{
  GPIO_InitTypeDef GPIO_InitStruct = {0};

  /* GPIO Ports Clock Enable */
  __HAL_RCC_GPIOC_CLK_ENABLE();
  __HAL_RCC_GPIOF_CLK_ENABLE();
  __HAL_RCC_GPIOA_CLK_ENABLE();
  __HAL_RCC_GPIOB_CLK_ENABLE();

  /*Configure GPIO pin Output Level */
  HAL_GPIO_WritePin(GPIOC, GPIO_PIN_0, GPIO_PIN_RESET);

  /*Configure GPIO pin Output Level */
  HAL_GPIO_WritePin(GPIOA, GPIO_PIN_5, GPIO_PIN_RESET);

  /*Configure GPIO pin : PC13 */
  GPIO_InitStruct.Pin = GPIO_PIN_13;
  GPIO_InitStruct.Mode = GPIO_MODE_IT_RISING;
  GPIO_InitStruct.Pull = GPIO_NOPULL;
  HAL_GPIO_Init(GPIOC, &GPIO_InitStruct);

  /*Configure GPIO pin : PC0 */
  GPIO_InitStruct.Pin = GPIO_PIN_0;
  GPIO_InitStruct.Mode = GPIO_MODE_OUTPUT_PP;
  GPIO_InitStruct.Pull = GPIO_NOPULL;
  GPIO_InitStruct.Speed = GPIO_SPEED_FREQ_LOW;
  HAL_GPIO_Init(GPIOC, &GPIO_InitStruct);

  /*Configure GPIO pin : PA5 */
  GPIO_InitStruct.Pin = GPIO_PIN_5;
  GPIO_InitStruct.Mode = GPIO_MODE_OUTPUT_PP;
  GPIO_InitStruct.Pull = GPIO_NOPULL;
  GPIO_InitStruct.Speed = GPIO_SPEED_FREQ_LOW;
  HAL_GPIO_Init(GPIOA, &GPIO_InitStruct);

  /* EXTI interrupt init*/
  HAL_NVIC_SetPriority(EXTI15_10_IRQn, 0, 0);
  HAL_NVIC_EnableIRQ(EXTI15_10_IRQn);

}

/* USER CODE BEGIN 4 */
void HAL_GPIO_EXTI_Callback(uint16_t GPIO_Pin) {
  if(GPIO_Pin == GPIO_PIN_13) {
    active = !active;
    state_change = true;
  }
}

void HAL_ADC_ConvCpltCallback(ADC_HandleTypeDef *hadc) {
  if(hadc == &hadc1) {
    next_step = true;
  }
}

// void HAL_TIM_PeriodElapsedCallback(TIM_HandleTypeDef *htim) {
//   if(htim == &htim1) {
//     HAL_GPIO_TogglePin(GPIOC, GPIO_PIN_0);
//   }
// }

void HAL_I2C_MemRxCpltCallback(I2C_HandleTypeDef *hi2c) {
  if(hi2c == &hi2c2) {
    i2c_dma_ready = true;
  }
}

static inline int32_t update_cumulative_angle(int32_t cumulative_angle_prev, uint16_t raw_angle_prev, uint16_t raw_angle) {
  int32_t cumulative_angle;
  if(raw_angle_prev > 4095 - ANGLE_WRAP_THRESHOLD && raw_angle < ANGLE_WRAP_THRESHOLD) {
    // forward wrap around
    cumulative_angle = cumulative_angle_prev + (4096 - raw_angle_prev + raw_angle);
  } else if(raw_angle_prev < ANGLE_WRAP_THRESHOLD && raw_angle > 4095 - ANGLE_WRAP_THRESHOLD) {
    // backward wrap around
    cumulative_angle = cumulative_angle_prev - (4096 - raw_angle + raw_angle_prev);
  } else {
    // no wrap around
    cumulative_angle = cumulative_angle_prev + (raw_angle - raw_angle_prev);
  }

  return cumulative_angle;
}

/* USER CODE END 4 */

void Error_Handler(void)
{
  __disable_irq();
  while (1)
  {
  }
}
